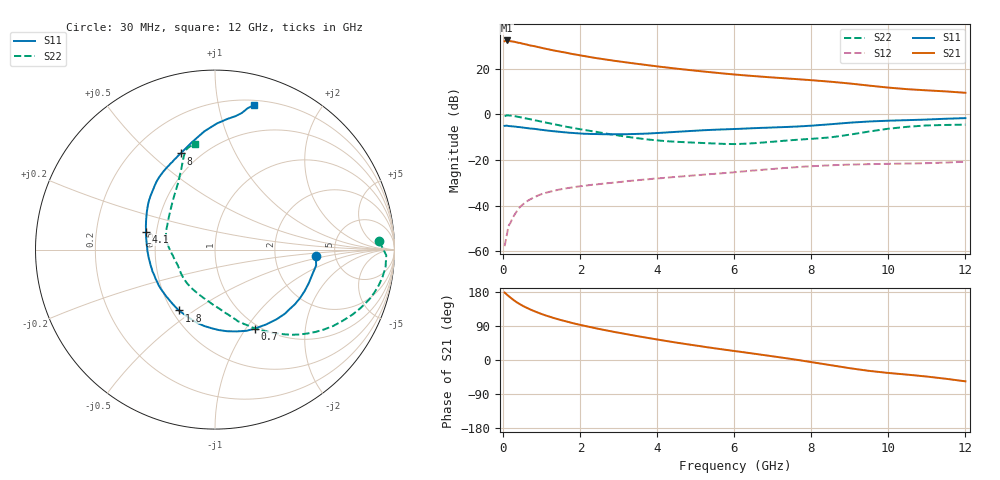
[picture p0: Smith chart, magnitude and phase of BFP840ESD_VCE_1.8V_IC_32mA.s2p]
! Infineon Technologies  Discrete & RF Semiconductors
! BFP840ESD
! VCE =  1.8 V,  IC =  32 mA
! Common Emitter S-Parameters:  May 2012
# GHz  S  MA  R  50
!  f  S11  S21  S12  S22
! GHz  MAG  ANG  MAG  ANG  MAG  ANG  MAG  ANG
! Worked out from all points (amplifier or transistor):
!   93 points, 30 MHz to 12 GHz, reference 50 ohm
!   highest |S21| = 32.5 dB at 80 MHz (marker M1)
!   |S21| within 3 dB of that: start of sweep to 929.3 MHz
!   unconditionally stable (mu >= 1): start of sweep to 35.24 MHz; 3.955 GHz to 7.834 GHz
!   at 1.1 GHz: K = 0.51, MSG = 31.6 dB, |S12| = -34.3 dB
!   at 4.2 GHz: K = 1.02, MAG = 23.4 dB, |S12| = -27.7 dB
!   at 12 GHz: K = 0.72, MSG = 15.1 dB, |S12| = -20.7 dB
!   S11 on the Smith chart (normalised r, x): 30 MHz: 3.53, -0.36; 700 MHz: 0.95, -1.10; 1.8 GHz: 0.54, -0.44; 4.1 GHz: 0.44, +0.10; 8 GHz: 0.40, +0.63; 12 GHz: 0.24, +1.27
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0.03  0.5625 -3.6  40.29 178.0  0.0013 85.9  0.9161 2.9
0.08  0.5704 -8.9  41.96 173.4  0.0021 93.4  0.9546 -1.9
0.23  0.5501 -24.9  39.89 160.8  0.0052 81.4  0.9342 -12.2
0.33  0.5394 -34.4  38.39 153.4  0.0072 75.2  0.9066 -17.4
0.43  0.5284 -42.6  36.96 147.1  0.0094 72.1  0.873 -22.0
0.5  0.5179 -48.6  35.62 143.1  0.0106 69.4  0.8481 -25.2
0.7  0.4926 -63.2  32.47 133.2  0.0139 64.7  0.7846 -32.8
0.9  0.4716 -75.1  30.11 124.9  0.0168 60.5  0.7233 -39.4
1.1  0.449 -87.2  27.56 117.5  0.0192 56.6  0.6668 -45.2
1.3  0.4301 -97.8  25.4 111.0  0.0212 53.7  0.6152 -50.2
1.8  0.3942 -120.7  21.09 97.3  0.0252 48.7  0.5097 -61.2
2.1  0.3786 -132.5  19.11 90.3  0.0273 46.0  0.4584 -66.8
2.5  0.3714 -147.6  16.79 81.6  0.0299 44.4  0.4045 -73.7
2.9  0.369 -160.8  14.97 73.6  0.0323 43.1  0.3562 -80.9
3.5  0.3764 -178.6  12.81 62.7  0.0364 41.1  0.3012 -93.8
4.1  0.397 165.5  11.07 52.3  0.0402 38.7  0.2662 -109.2
5.2  0.4518 145.4  8.753 35.1  0.048 34.7  0.2369 -137.7
6.1  0.4841 134.7  7.413 22.4  0.0553 31.6  0.2267 -159.8
8  0.5688 109.7  5.65 -5.6  0.0734 17.9  0.2925 158.0
8.5  0.612 102.1  5.227 -13.6  0.0771 13.4  0.3155 144.5
10.5  0.7519 81.3  3.584 -38.7  0.0841 -2.6  0.5384 109.1
12  0.8329 75.0  2.991 -56.3  0.0922 -10.5  0.5995 100.8
